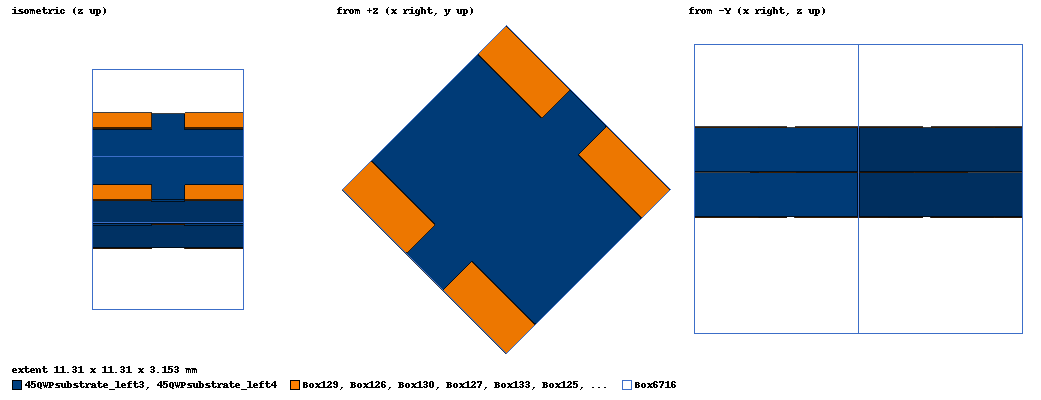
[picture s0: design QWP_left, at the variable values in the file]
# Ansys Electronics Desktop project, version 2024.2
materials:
  Rogers RO4003 (tm): permittivity=3.55 dielectric_loss_tangent=0.0027
  air: permittivity=1.0006 permeability=1.0000004
  copper: permeability=0.999991 conductivity=58000000
  vacuum: permittivity=1

design QWP_left (HFSS, HFSS Modal Network, model units mm)
options: Calculate_Lossy_Dielectrics Save_Adaptive_support_files
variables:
  W1 = 8mm*times
  thickness1 = 0.035mm
  L1 = 8mm*times
  d1 = 1.524mm*times
  Ashape_W2 = 1.4mm*times
  Ashape_L1 = 3.1mm*times
  Ashape_L3 = 3.1mm*times
  Ashape_W3 = 2.7mm*times
  LG = 0mm
  WG = 0mm
  Z2 = 2*d1+3*thickness1+gap1
  thickness2 = 0.035mm*times
  d2 = 1.575mm*times
  Z4 = Z3+2*d2+3*thickness2+gap1
  Z3 = Z2+2*d2+3*thickness2+gap2
  Cshape_L1 = 0.3mm*times
  gap2 = 3.26mm
  gap1 = 1.66mm
  times = 1
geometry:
  Box6716 [air] = box(corner=(0, 0, Z4-4mm), size=(L1, L1, 10mm))
  45QWPsubstrate_left3 [Rogers RO4003 (tm)] = box(corner=(0mm, 0mm, Z4+thickness1), size=(L1+LG, W1+WG, d1))
  45QWPsubstrate_left3.rotate(axis=Z, angle=45deg)
  45QWPsubstrate_left3.rotate(axis=Z, angle=-45deg)
  45QWPsubstrate_left3.rotate(axis=Z, angle=90deg)
  45QWPsubstrate_left3.move(L1, 0mm, 0mm)
  Box125 [copper] = box(corner=(0mm, 0mm, Z4), size=(Ashape_L1, Ashape_W2, thickness1))
  Box125.rotate(axis=Z, angle=90deg)
  Box125.move(L1, 0mm, 0mm)
  Box126 [copper] = box(corner=(L1-Ashape_L1, 0mm, Z4), size=(Ashape_L1, Ashape_W2, thickness1))
  Box126.rotate(axis=Z, angle=90deg)
  Box126.move(L1, 0mm, 0mm)
  Box127 [copper] = box(corner=(0mm, L1-Ashape_W2, Z4), size=(Ashape_L1, Ashape_W2, thickness1))
  Box127.rotate(axis=Z, angle=90deg)
  Box127.move(L1, 0mm, 0mm)
  Box128 [copper] = box(corner=(L1-Ashape_L1, L1-Ashape_W2, Z4), size=(Ashape_L1, Ashape_W2, thickness1))
  Box128.rotate(axis=Z, angle=90deg)
  Box128.move(L1, 0mm, 0mm)
  Box129 [copper] = box(corner=(0mm, 0mm, Z4+d1+thickness1), size=(L1, W1, thickness1))
  Box129.rotate(axis=Z, angle=45deg)
  Box129.rotate(axis=Z, angle=-45deg)
  Box134 = box(corner=(0mm, 0mm, Z4+d1+thickness1), size=(Ashape_L3, Ashape_W3, thickness1))
  Box134.move(0mm, 5.3mm*times, 0mm)
  Box134.move(4.9mm*times, 0mm, 0mm)
  Box134.move(0mm, -5.3mm*times, 0mm)
  Box135 = box(corner=(0mm, 0mm, Z4+d1+thickness1), size=(Ashape_L3, Ashape_W3, thickness1))
  Box136 = box(corner=(0mm, 0mm, Z4+d1+thickness1), size=(Ashape_L3, Ashape_W3, thickness1))
  Box136.move(0mm, 5.3mm*times, 0mm)
  Box137 = box(corner=(0mm, 0mm, Z4+d1+thickness1), size=(Ashape_L3, Ashape_W3, thickness1))
  Box137.move(0mm, 5.3mm*times, 0mm)
  Box137.move(4.9mm*times, 0mm, 0mm)
  Box129.subtract(Box134..Box137)
  Box129.rotate(axis=Z, angle=90deg)
  Box129.move(L1, 0mm, 0mm)
  45QWPsubstrate_left4 [Rogers RO4003 (tm)] = box(corner=(0mm, 0mm, Z4+d1+2*thickness1), size=(L1+LG, W1+WG, d1))
  45QWPsubstrate_left4.rotate(axis=Z, angle=45deg)
  45QWPsubstrate_left4.rotate(axis=Z, angle=-45deg)
  45QWPsubstrate_left4.rotate(axis=Z, angle=90deg)
  45QWPsubstrate_left4.move(L1, 0mm, 0mm)
  Box130 [copper] = box(corner=(L1-Ashape_L1, 0mm, Z4+2*d1+2*thickness1), size=(Ashape_L1, Ashape_W2, thickness1))
  Box130.rotate(axis=Z, angle=90deg)
  Box130.move(L1, 0mm, 0mm)
  Box131 [copper] = box(corner=(0mm, 0mm, Z4+2*d1+2*thickness1), size=(Ashape_L1, Ashape_W2, thickness1))
  Box131.rotate(axis=Z, angle=90deg)
  Box131.move(L1, 0mm, 0mm)
  Box132 [copper] = box(corner=(L1-Ashape_L1, L1-Ashape_W2, Z4+2*d1+2*thickness1), size=(Ashape_L1, Ashape_W2, thickness1))
  Box132.rotate(axis=Z, angle=90deg)
  Box132.move(L1, 0mm, 0mm)
  Box133 [copper] = box(corner=(0mm, L1-Ashape_W2, Z4+2*d1+2*thickness1), size=(Ashape_L1, Ashape_W2, thickness1))
  Box133.rotate(axis=Z, angle=90deg)
  Box133.move(L1, 0mm, 0mm)
  [Box6716, 45QWPsubstrate_left3, Box125..Box129, 45QWPsubstrate_left4, Box130..Box133].rotate(axis=Z, angle=45deg)
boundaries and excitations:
  Master1: Primary Faces=Box6716.face(at (2.82843, 2.82843, 17.243)) CoordSysVector{(5.6568542, 5.6568542, 12.243) -> (5.6568542, 5.6568542, 22.243)} ReverseV
  Slave1: Secondary Faces=Box6716.face(at (-2.82843, 8.48528, 17.243)) CoordSysVector{(0, 11.313708, 12.243) -> (0, 11.313708, 22.243)} primary=Master1 PhaseDelay=UseScanAngle Phi=0deg Theta=0deg
  Master2: Primary Faces=Box6716.face(at (2.82843, 8.48528, 17.243)) CoordSysVector{(5.6568542, 5.6568542, 12.243) -> (5.6568542, 5.6568542, 22.243)}
  Slave2: Secondary Faces=Box6716.face(at (-2.82843, 2.82843, 17.243)) CoordSysVector{(0, 0, 12.243) -> (0, 0, 22.243)} ReverseV primary=Master2 PhaseDelay=UseScanAngle Phi=0deg Theta=0deg
  FloquetPort2: Floquet Port Faces=Box6716.face(at (0, 5.65685, 12.243)) NumModes=2 DeembedDist=0.02mm Modes{Mode1{CharImp=Zpi} Mode2{CharImp=Zpi}} PhaseDelay=UseScanAngle Phi=0deg Theta=0deg LatticeAVector{(0, 0, 12.243) -> (5.6568542, 5.6568542, 12.243)} LatticeBVector{(0, 0, 12.243) -> (-5.6568542, 5.6568542, 12.243)} ModesList{Mode{ModeNumber=1 IndexM=0 IndexN=0 KC2=0 PropagationState=Propagating Attenuation=0 PolarizationState=TE AffectsRefinement} Mode{ModeNumber=2 IndexM=0 IndexN=0 KC2=0 PropagationState=Propagating Attenuation=0 PolarizationState=TM AffectsRefinement}}
  FloquetPort1: Floquet Port Faces=Box6716.face(at (0, 5.65685, 22.243)) NumModes=2 DeembedDist=0.02mm Modes{Mode1{CharImp=Zpi} Mode2{CharImp=Zpi}} PhaseDelay=UseScanAngle Phi=0deg Theta=0deg LatticeAVector{(0, 0, 22.243) -> (5.6568542, 5.6568542, 22.243)} LatticeBVector{(0, 0, 22.243) -> (-5.6568542, 5.6568542, 22.243)} ModesCalculator{Frequency=1GHz FrequencyChanged PhiStart=0deg PhiStop=0deg PhiStep=0deg ThetaStart=0deg ThetaStop=0deg ThetaStep=0deg} ModesList{Mode{ModeNumber=1 IndexM=0 IndexN=0 KC2=0 PropagationState=Propagating Attenuation=0 PolarizationState=TE AffectsRefinement} Mode{ModeNumber=2 IndexM=0 IndexN=0 KC2=0 PropagationState=Propagating Attenuation=0 PolarizationState=TM AffectsRefinement}}
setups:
  Setup1: HfssDriven Frequency=10GHz MaxDeltaS=0.02 MaximumPasses=10 MinimumPasses=1 MinimumConvergedPasses=1 PercentRefinement=30 BasisOrder=1 PortAccuracy=2 DrivenSolverType="Direct Solver"
    sweep Sweep: 9GHz to 11GHz step 0.1GHz; Type=Discrete
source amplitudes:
  FloquetPort2:1: 1W 0deg
  FloquetPort2:2, FloquetPort1:1, FloquetPort1:2: 0W 0deg
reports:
  XY Plot 1: dB(S(FloquetPort1:1,FloquetPort1:1)) vs Freq on Setup1 : Sweep
  S Parameter Plot 1: dB(S(FloquetPort2:1,FloquetPort1:1)) vs Freq on Setup1 : Sweep
   Plot 1: dB(((mag(S(FloquetPort2:1,FloquetPort1:2)+S(FloquetPort2:2,FloquetPort1:2)))^2+(mag(S(FloquetPort2:2,FloquetPort1:1)+S(FloquetPort2:1,FloquetPort1:1)))^2)/2) vs Freq on Setup1 : Sweep; markers m1 at 10GHz
  S Parameter Plot 2: dB(S(FloquetPort2:2,FloquetPort1:2)) vs Freq on Setup1 : Sweep
  S Parameter Plot 3: ang_deg(S(FloquetPort2:1,FloquetPort1:1)), ang_deg(S(FloquetPort2:2,FloquetPort1:1)) vs Freq on Setup1 : Sweep; markers MX1 at x=1.0007907e+10
